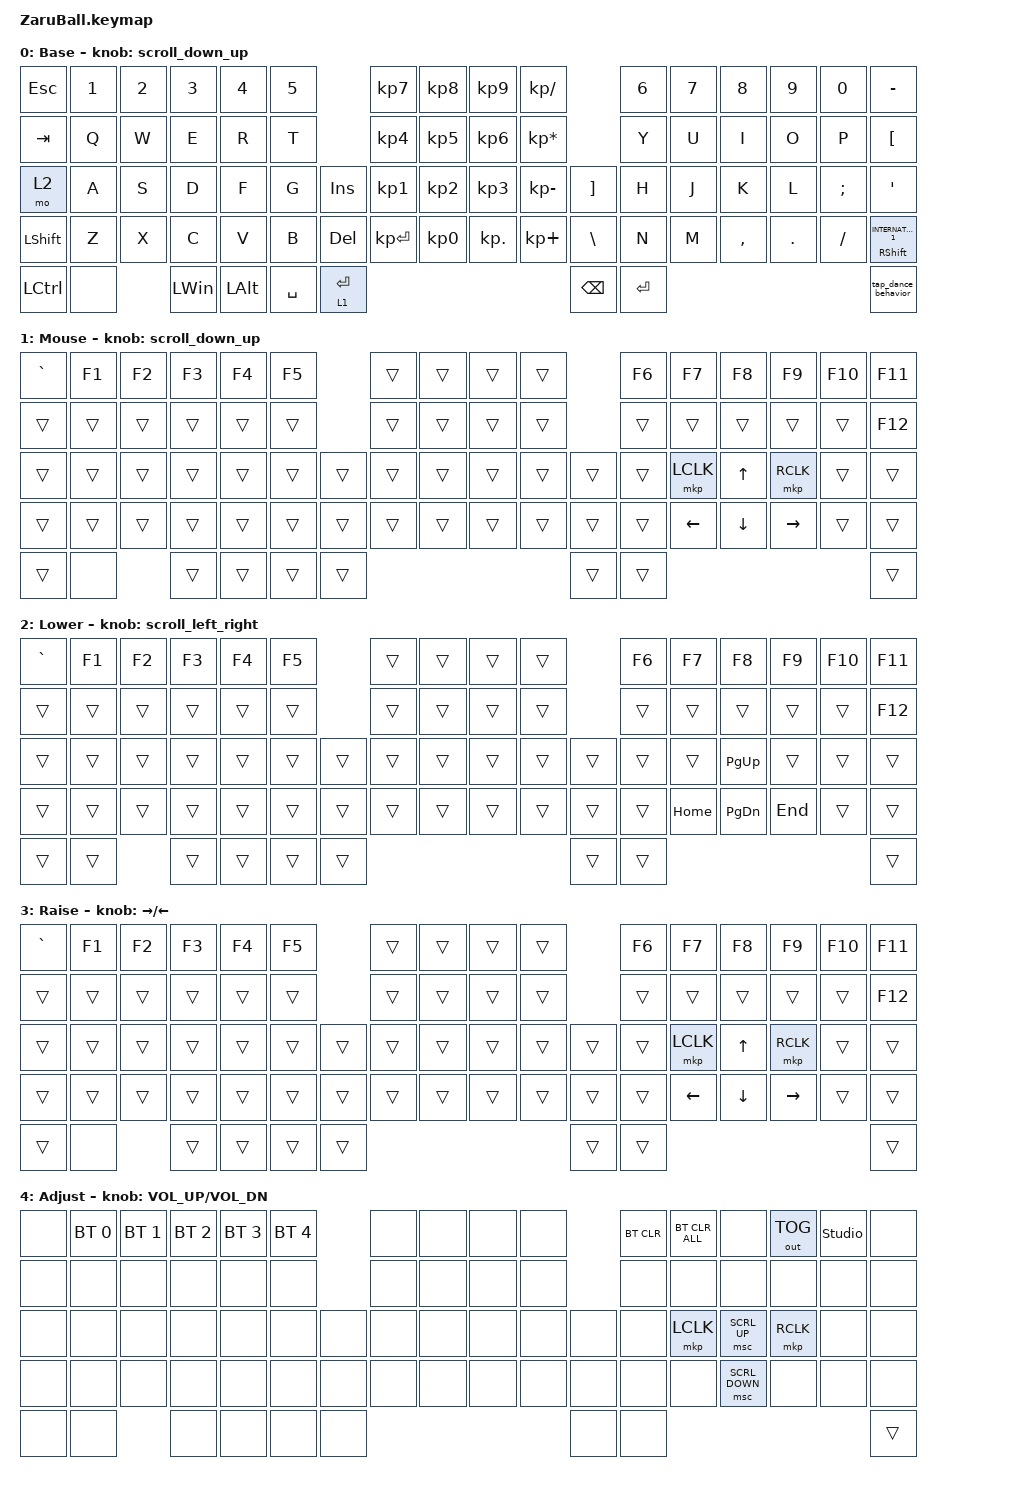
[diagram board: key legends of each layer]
//#include <dt-bindings/zmk/mouse.h>

#include <behaviors/rgbled_widget.dtsi>
#include <input/processors.dtsi>
#include <dt-bindings/zmk/input_transform.h>
#include <behaviors.dtsi>
#include <dt-bindings/zmk/bt.h>
#include <dt-bindings/zmk/keys.h>
#include <dt-bindings/zmk/outputs.h>
#include <dt-bindings/zmk/pointing.h>

#define BASE     0
#define MOUSE    1
#define LOWER    2
#define RAISE    3
#define ADJUST   4
#define SCROLL   2

// スクロール量の設定

#define ZMK_POINTING_DEFAULT_SCRL_VAL 100

&trackball_listener {
    // 通常ポインタ

    input-processors = <
                         &zip_xy_transform (INPUT_TRANSFORM_XY_SWAP | INPUT_TRANSFORM_Y_INVERT | INPUT_TRANSFORM_X_INVERT)
                         // &zip_temp_layer MOUSE 500 //AMLの設定の名残
    >;

    // 低感度レイヤー

    precision {
        layers = <RAISE>;
        input-processors = <
            &zip_xy_transform (INPUT_TRANSFORM_XY_SWAP | INPUT_TRANSFORM_Y_INVERT | INPUT_TRANSFORM_X_INVERT)
            &zip_xy_scaler 1 2
        >;
    };

    // スクロール

    scroller {
        layers = <SCROLL>;
        input-processors = <
                            &zip_xy_transform (INPUT_TRANSFORM_XY_SWAP | INPUT_TRANSFORM_X_INVERT)
                            &zip_xy_scaler 1 20
                            &zip_xy_to_scroll_mapper
        >;
    };
};

/ {
    conditional_layers {
        compatible = "zmk,conditional-layers";

        tri_layer {
            if-layers = <1 2>;
            then-layer = <3>;
        };
    };
};

/ {
    behaviors {
        // スクロール用のbehaviorの設定

        scroll_down_up: behavior_sensor_rotate_mouse_wheel_down_up {
            compatible = "zmk,behavior-sensor-rotate";
            #sensor-binding-cells = <0>;
            bindings = <&msc SCRL_UP>, <&msc SCRL_DOWN>;

            tap-ms = <20>; // スクロールのタップ時間
        };

        scroll_left_right: behavior_sensor_rotate_mouse_wheel_left_right {
            compatible = "zmk,behavior-sensor-rotate";
            #sensor-binding-cells = <0>;
            bindings = <&msc SCRL_LEFT>, <&msc SCRL_RIGHT>;

            tap-ms = <20>; // スクロールのタップ時間
        };

        toggle_layre1_behavior: toggle_layre1_behavior {
            compatible = "zmk,behavior-toggle-layer";
            label = "TOGGLE_LAYRE1_BEHAVIOR";
            #binding-cells = <1>;
        };

        tap_dance_behavior: tap_dance_behavior {
            compatible = "zmk,behavior-tap-dance";
            label = "TAP_DANCE_BEHAVIOR";
            #binding-cells = <0>;
            bindings = <&mo 4>, <&toggle_layre1_behavior 1>;
        };
    };
};

// &sl { release-after-ms = <250>; }; // time needed for double click (for mkp_exit_AML) 

/ {
};

/ {
    combos {
        compatible = "zmk,combos";

        Caret_combo {
            bindings = <&kp EQUAL>;
            key-positions = <14 15>;
            layers = <0>;
        };

        YEN_combo {
            bindings = <&kp INTERNATIONAL_3>;
            key-positions = <30 31>;
            layers = <0>;
        };

        NumLock {
            bindings = <&kp KP_NUMLOCK>;
            key-positions = <9 57>;
        };

        NumLock2 {
            bindings = <&kp KP_NUMLOCK>;
            key-positions = <60 6>;
        };
    };

    keymap {
        compatible = "zmk,keymap";

        base_layer {
            display-name = "Base";
            sensor-bindings = <&scroll_down_up>;
            bindings = <
&kp ESC         &kp N1  &kp N2  &kp N3    &kp N4        &kp N5                    &kp KP_N7     &kp KP_N8  &kp KP_N9   &kp KP_DIVIDE                         &kp NUMBER_6  &kp N7  &kp N8     &kp N9   &kp N0    &kp MINUS
&kp TAB         &kp Q   &kp W   &kp E     &kp R         &kp T                     &kp KP_N4     &kp KP_N5  &kp KP_N6   &kp KP_MULTIPLY                       &kp Y         &kp U   &kp I      &kp O    &kp P     &kp LBKT
&mo 2           &kp A   &kp S   &kp D     &kp F         &kp G      &kp INS        &kp KP_N1     &kp KP_N2  &kp KP_N3   &kp KP_MINUS       &kp RIGHT_BRACKET  &kp H         &kp J   &kp K      &kp L    &kp SEMI  &kp SQT
&kp LEFT_SHIFT  &kp Z   &kp X   &kp C     &kp V         &kp B      &kp DELETE     &kp KP_ENTER  &kp KP_N0  &kp KP_DOT  &kp KP_PLUS        &kp BACKSLASH      &kp N         &kp M   &kp COMMA  &kp DOT  &kp FSLH  &mt RIGHT_SHIFT INTERNATIONAL_1
&kp LCTRL       &none           &kp LWIN  &kp LEFT_ALT  &kp SPACE  &lt 1 ENTER                                                            &kp BACKSPACE      &kp ENTER                                           &tap_dance_behavior
            >;
        };

        mouse_layer {
            display-name = "Mouse";
            sensor-bindings = <&scroll_down_up>;
            bindings = <
&kp GRAVE  &kp F1  &kp F2  &kp F3  &kp F4  &kp F5            &trans  &trans  &trans  &trans            &kp F6  &kp F7     &kp F8    &kp F9     &kp F10  &kp F11
&trans     &trans  &trans  &trans  &trans  &trans            &trans  &trans  &trans  &trans            &trans  &trans     &trans    &trans     &trans   &kp F12
&trans     &trans  &trans  &trans  &trans  &trans  &trans    &trans  &trans  &trans  &trans    &trans  &trans  &mkp LCLK  &kp UP    &mkp RCLK  &trans   &trans
&trans     &trans  &trans  &trans  &trans  &trans  &trans    &trans  &trans  &trans  &trans    &trans  &trans  &kp LEFT   &kp DOWN  &kp RIGHT  &trans   &trans
&trans     &none           &trans  &trans  &trans  &trans                                      &trans  &trans                                           &trans
            >;
        };

        lower_layer {
            display-name = "Lower";
            sensor-bindings = <&scroll_left_right>;
            bindings = <
&kp GRAVE  &kp F1  &kp F2  &kp F3  &kp F4  &kp F5            &trans  &trans  &trans  &trans            &kp F6  &kp F7    &kp F8         &kp F9   &kp F10  &kp F11
&trans     &trans  &trans  &trans  &trans  &trans            &trans  &trans  &trans  &trans            &trans  &trans    &trans         &trans   &trans   &kp F12
&trans     &trans  &trans  &trans  &trans  &trans  &trans    &trans  &trans  &trans  &trans    &trans  &trans  &trans    &kp PAGE_UP    &trans   &trans   &trans
&trans     &trans  &trans  &trans  &trans  &trans  &trans    &trans  &trans  &trans  &trans    &trans  &trans  &kp HOME  &kp PAGE_DOWN  &kp END  &trans   &trans
&trans     &trans          &trans  &trans  &trans  &trans                                      &trans  &trans                                             &trans
            >;
        };

        raise_layer {
            display-name = "Raise";
            sensor-bindings = <&inc_dec_kp RIGHT LEFT>;
            bindings = <
&kp GRAVE  &kp F1  &kp F2  &kp F3  &kp F4  &kp F5            &trans  &trans  &trans  &trans            &kp F6  &kp F7     &kp F8    &kp F9     &kp F10  &kp F11
&trans     &trans  &trans  &trans  &trans  &trans            &trans  &trans  &trans  &trans            &trans  &trans     &trans    &trans     &trans   &kp F12
&trans     &trans  &trans  &trans  &trans  &trans  &trans    &trans  &trans  &trans  &trans    &trans  &trans  &mkp LCLK  &kp UP    &mkp RCLK  &trans   &trans
&trans     &trans  &trans  &trans  &trans  &trans  &trans    &trans  &trans  &trans  &trans    &trans  &trans  &kp LEFT   &kp DOWN  &kp RIGHT  &trans   &trans
&trans     &none           &trans  &trans  &trans  &trans                                      &trans  &trans                                           &trans
            >;
        };

        adjust_layer {
            display-name = "Adjust";
            sensor-bindings = <&inc_dec_kp C_VOL_UP C_VOL_DN>;
            bindings = <
&none  &bt BT_SEL 0  &bt BT_SEL 1  &bt BT_SEL 2  &bt BT_SEL 3  &bt BT_SEL 4           &none  &none  &none  &none           &bt BT_CLR  &bt BT_CLR_ALL  &none           &out OUT_TOG  &studio_unlock  &none
&none  &none         &none         &none         &none         &none                  &none  &none  &none  &none           &none       &none           &none           &none         &none           &none
&none  &none         &none         &none         &none         &none         &none    &none  &none  &none  &none    &none  &none       &mkp LCLK       &msc SCRL_UP    &mkp RCLK     &none           &none
&none  &none         &none         &none         &none         &none         &none    &none  &none  &none  &none    &none  &none       &none           &msc SCRL_DOWN  &none         &none           &none
&none  &none                       &none         &none         &none         &none                                  &none  &none                                                                     &trans
            >;
        };

        // Extra layer can be added in ZMK STUDIO

        extra1 { status = "reserved"; };

        extra2 { status = "reserved"; };
    };
};
